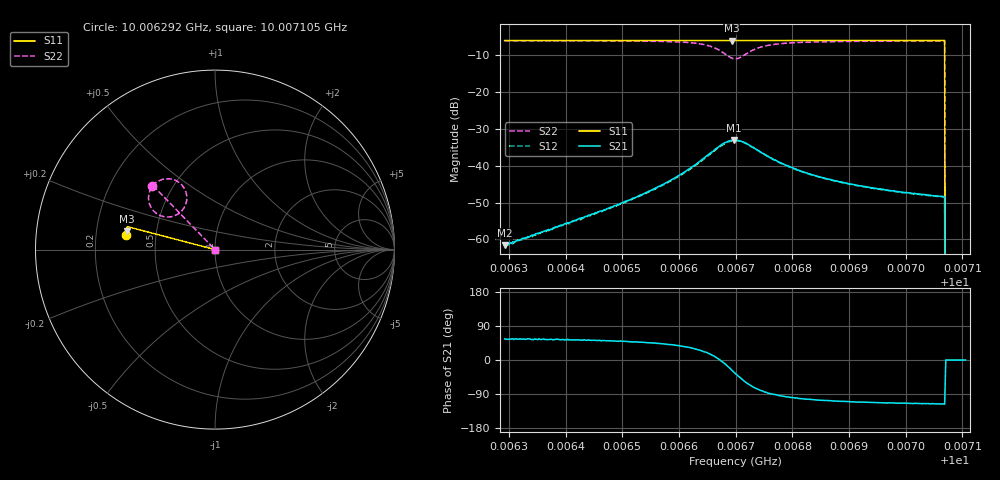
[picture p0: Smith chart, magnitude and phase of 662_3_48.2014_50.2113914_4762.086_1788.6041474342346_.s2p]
#  HZ  S  RI  R  50.00
! Rohde & Schwarz Vector Network Analyzer
! Rohde-Schwarz,ZNB20-2Port,1311601062101988,3.16
! Created: UTC 3/20/2024, 12:05:47 PM
! freq[Hz]  re:S11  im:S11  re:S21  im:S21  re:S12  im:S12  re:S22  im:S22
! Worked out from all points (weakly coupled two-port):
!   401 points, 10.006292 GHz to 10.007105 GHz, reference 50 ohm
!   highest |S21| = -32.97 dB at 10.006697 GHz (marker M1); lowest = -61.7 dB at 10.006292 GHz (marker M2)
!   lowest |S11| = -6.0 dB at 10.006693 GHz (marker M3), VSWR 3.02, Z = 16.7 + j4.66 ohm
!   |S11| at or under -10 dB: 10.007069 GHz to end of sweep
!   |S22| runs from - to -6.0 dB; largest |S21 - S12| = 0.0019
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1.00062924e10  -0.4976 0.079  0.000464 0.000684  0.000405 0.0007  -0.3507 0.3561
1.00064286e10  -0.4964 0.0879  0.00119 0.00156  0.00107 0.00156  -0.3362 0.369
1.00065119e10  -0.4954 0.0936  0.00226 0.00255  0.00206 0.00264  -0.32 0.3799
1.00065647e10  -0.4948 0.0971  0.0038 0.00363  0.00352 0.00372  -0.3008 0.3888
1.00066074e10  -0.494 0.0999  0.00651 0.00468  0.00608 0.0049  -0.2711 0.3949
1.0006646e10  -0.4931 0.1025  0.0122 0.0047  0.0116 0.00518  -0.2169 0.3841
1.00066683e10  -0.492 0.1038  0.0177 0.00125  0.0171 0.00237  -0.1716 0.3419
1.00066805e10  -0.4917 0.1041  0.0203 -0.00337  0.0197 -0.00196  -0.1573 0.2942
1.00066927e10  -0.4914 0.1041  0.02 -0.00975  0.0201 -0.00808  -0.1708 0.2359
1.00066968e10  -0.4915 0.1042  0.0191 -0.0118  0.0195 -0.0102  -0.1832 0.2182
1.00066988e10  -0.4914 0.1044  0.0184 -0.0128  0.019 -0.0112  -0.1906 0.2104
1.00067069e10  -0.4916 0.1044  0.0154 -0.0156  0.0161 -0.0143  -0.2259 0.1884
1.00067171e10  -0.4918 0.1047  0.0108 -0.0173  0.0119 -0.0163  -0.2722 0.1817
1.00067313e10  -0.4922 0.1057  0.00557 -0.0169  0.00663 -0.0162  -0.3207 0.1979
1.00067455e10  -0.4923 0.1066  0.00232 -0.0149  0.00311 -0.0147  -0.3481 0.2228
1.00067821e10  -0.4924 0.1094  -0.000979 -0.0107  -0.000399 -0.0107  -0.3695 0.2733
1.00068349e10  -0.4919 0.113  -0.00187 -0.00733  -0.00149 -0.00734  -0.3681 0.3101
1.00068898e10  -0.4911 0.1166  -0.00193 -0.0056  -0.00163 -0.0056  -0.3622 0.3295
1.00069711e10  -0.4902 0.1219  -0.00182 -0.00424  -0.0016 -0.00428  -0.354 0.3455
1.00070645e10  -0.4888 0.1278  -0.00167 -0.00345  -0.0015 -0.00347  -0.3465 0.357
1.00070747e10  0 0  0 0  0 0  0 0
1.00071052e10  0 0  0 0  0 0  0 0
